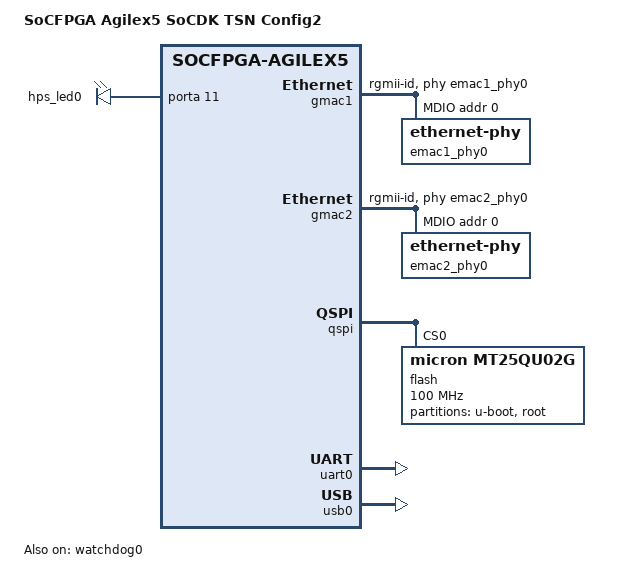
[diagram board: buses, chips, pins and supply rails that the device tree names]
// SPDX-License-Identifier: GPL-2.0-only
/*
 * Copyright (C) 2026, Altera Corporation
 */
#include "socfpga_agilex5.dtsi"

/ {
	model = "SoCFPGA Agilex5 SoCDK TSN Config2";
	compatible = "intel,socfpga-agilex5-socdk-tsn-cfg2", "intel,socfpga-agilex5";

	aliases {
		serial0 = &uart0;
		ethernet1 = &gmac1;
		ethernet2 = &gmac2;
	};

	chosen {
		stdout-path = "serial0:115200n8";
	};

	leds {
		compatible = "gpio-leds";

		led-0 {
			label = "hps_led0";
			gpios = <&porta 11 GPIO_ACTIVE_HIGH>;
		};

	};

	memory@80000000 {
		device_type = "memory";
		/* We expect the bootloader to fill in the reg */
		reg = <0x0 0x80000000 0x0 0x0>;
	};
};

&gpio0 {
	status = "okay";
};

&gpio1 {
	status = "okay";
};

&gmac1 {
	status = "okay";
	compatible = "altr,socfpga-stmmac-agilex5-tsn",
		     "snps,dwxgmac-2.10";
	phy-mode = "rgmii-id";
	phy-handle = <&emac1_phy0>;
	max-frame-size = <9000>;

	mdio0 {
		#address-cells = <1>;
		#size-cells = <0>;
		compatible = "snps,dwmac-mdio";

		emac1_phy0: ethernet-phy@0 {
			reg = <0>;
		};
	};
};

&gmac2 {
	status = "okay";
	phy-mode = "rgmii-id";
	phy-handle = <&emac2_phy0>;
	max-frame-size = <9000>;

	mdio0 {
		#address-cells = <1>;
		#size-cells = <0>;
		compatible = "snps,dwmac-mdio";

		emac2_phy0: ethernet-phy@0 {
			reg = <0>;
		};
	};
};

&osc1 {
	clock-frequency = <25000000>;
};

&qspi {
	status = "okay";
	flash@0 {
		compatible = "micron,mt25qu02g", "jedec,spi-nor";
		reg = <0>;
		spi-max-frequency = <100000000>;
		m25p,fast-read;
		cdns,read-delay = <2>;
		cdns,tshsl-ns = <50>;
		cdns,tsd2d-ns = <50>;
		cdns,tchsh-ns = <4>;
		cdns,tslch-ns = <4>;
		spi-tx-bus-width = <4>;
		spi-rx-bus-width = <4>;

		partitions {
			compatible = "fixed-partitions";
			#address-cells = <1>;
			#size-cells = <1>;

			qspi_boot: partition@0 {
				label = "u-boot";
				reg = <0x0 0x04200000>;
			};

			root: partition@4200000 {
				label = "root";
				reg = <0x04200000 0x0be00000>;
			};
		};
	};
};

&uart0 {
	status = "okay";
};

&usb0 {
	status = "okay";
	disable-over-current;
};

&watchdog0 {
	status = "okay";
};
